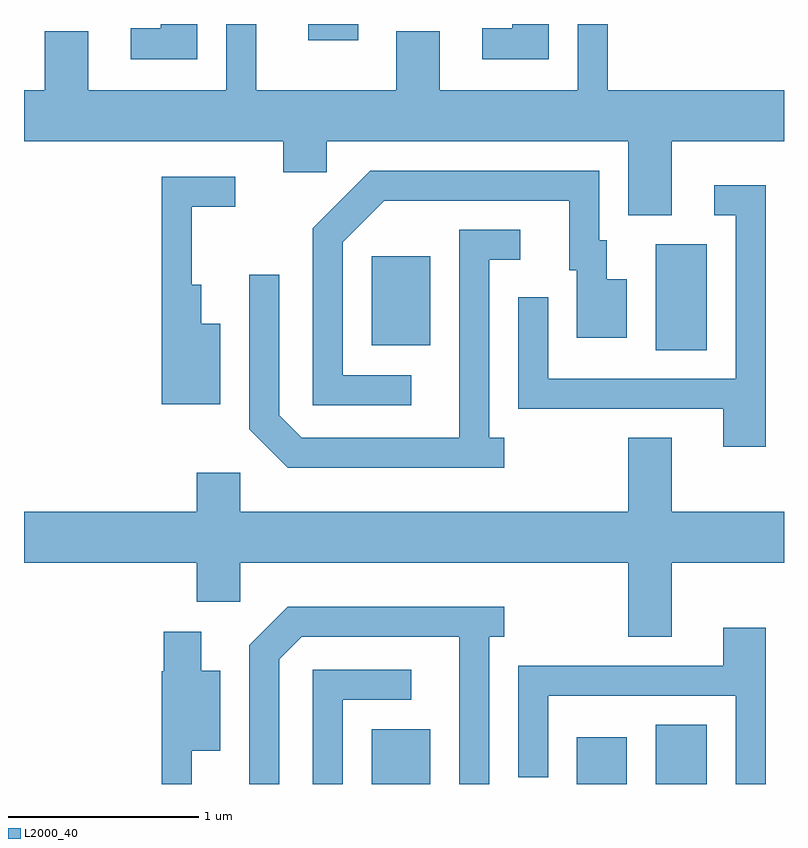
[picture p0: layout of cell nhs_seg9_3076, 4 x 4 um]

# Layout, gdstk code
import gdstk
lib = gdstk.Library(unit=1e-6, precision=1e-09)
def R(c, l, rs):  # rectangles x0, y0, x1, y1
    for r in rs: c.add(gdstk.rectangle(r[:2], r[2:], *l))
def P(c, l, *ps):  # polygons
    for p in ps: c.add(gdstk.Polygon(p, *l))
L2000_40 = (2000, 40)

nhs_seg9_3076 = lib.new_cell('nhs_seg9_3076')
R(nhs_seg9_3076, L2000_40, [(277.441,1988.432,277.749,1988.719), (278.521,1988.432,278.784,1988.679), (278.936,1988.432,279.204,1988.744), (278.936,1990.716,279.204,1991.274), (277.441,1990.741,277.749,1991.209), (277.106,1992.346,277.369,1992.432)])
P(nhs_seg9_3076, L2000_40, [(279.019,1991.816),(279.611,1991.816),(279.611,1992.084),(278.684,1992.084),(278.684,1992.432),(278.526,1992.432),(278.526,1992.084),(277.799,1992.084),(277.799,1992.394),(277.571,1992.394),(277.571,1992.084),(276.834,1992.084),(276.834,1992.432),(276.676,1992.432),(276.676,1992.084),(275.949,1992.084),(275.949,1992.394),(275.721,1992.394),(275.721,1992.084),(275.611,1992.084),(275.611,1991.816),(276.976,1991.816),(276.976,1991.651),(277.204,1991.651),(277.204,1991.816),(278.791,1991.816),(278.791,1991.426),(279.019,1991.426)],
  [(278.374,1992.432),(278.181,1992.432),(278.181,1992.409),(278.023,1992.409),(278.023,1992.246),(278.374,1992.246)],
  [(276.524,1992.432),(276.331,1992.432),(276.331,1992.409),(276.173,1992.409),(276.173,1992.246),(276.524,1992.246)],
  [(277.648,1990.584),(277.289,1990.584),(277.289,1991.284),(277.507,1991.501),(278.481,1991.501),(278.481,1991.136),(278.521,1991.136),(278.521,1990.781),(278.784,1990.781),(278.784,1991.089),(278.679,1991.089),(278.679,1991.294),(278.639,1991.294),(278.639,1991.659),(277.434,1991.659),(277.131,1991.357),(277.131,1990.426),(277.648,1990.426)],
  [(276.644,1990.854),(276.544,1990.854),(276.544,1991.059),(276.494,1991.059),(276.494,1991.471),(276.723,1991.471),(276.723,1991.629),(276.336,1991.629),(276.336,1990.431),(276.644,1990.431)],
  [(279.514,1991.584),(279.243,1991.584),(279.243,1991.426),(279.356,1991.426),(279.356,1990.564),(278.369,1990.564),(278.369,1990.993),(278.211,1990.993),(278.211,1990.406),(279.291,1990.406),(279.291,1990.206),(279.514,1990.206)],
  [(278.138,1990.254),(278.059,1990.254),(278.059,1991.191),(278.223,1991.191),(278.223,1991.349),(277.901,1991.349),(277.901,1990.254),(277.072,1990.254),(276.954,1990.372),(276.954,1991.113),(276.796,1991.113),(276.796,1990.299),(276.999,1990.096),(278.138,1990.096)],
  [(279.019,1989.596),(279.611,1989.596),(279.611,1989.864),(279.019,1989.864),(279.019,1990.254),(278.791,1990.254),(278.791,1989.864),(276.749,1989.864),(276.749,1990.069),(276.521,1990.069),(276.521,1989.864),(275.611,1989.864),(275.611,1989.596),(276.521,1989.596),(276.521,1989.391),(276.749,1989.391),(276.749,1989.596),(278.791,1989.596),(278.791,1989.206),(279.019,1989.206)],
  [(276.954,1989.089),(277.072,1989.206),(277.901,1989.206),(277.901,1988.432),(278.059,1988.432),(278.059,1989.206),(278.138,1989.206),(278.138,1989.364),(276.999,1989.364),(276.796,1989.162),(276.796,1988.432),(276.954,1988.432)],
  [(279.514,1989.254),(279.291,1989.254),(279.291,1989.054),(278.211,1989.054),(278.211,1988.468),(278.369,1988.468),(278.369,1988.896),(279.356,1988.896),(279.356,1988.432),(279.514,1988.432)],
  [(276.494,1988.606),(276.644,1988.606),(276.644,1989.029),(276.544,1989.029),(276.544,1989.234),(276.346,1989.234),(276.346,1989.025),(276.336,1989.025),(276.336,1988.432),(276.494,1988.432)],
  [(277.289,1988.876),(277.648,1988.876),(277.648,1989.034),(277.131,1989.034),(277.131,1988.432),(277.289,1988.432)])

lib.write_gds('nhs_seg9_3076.gds')
